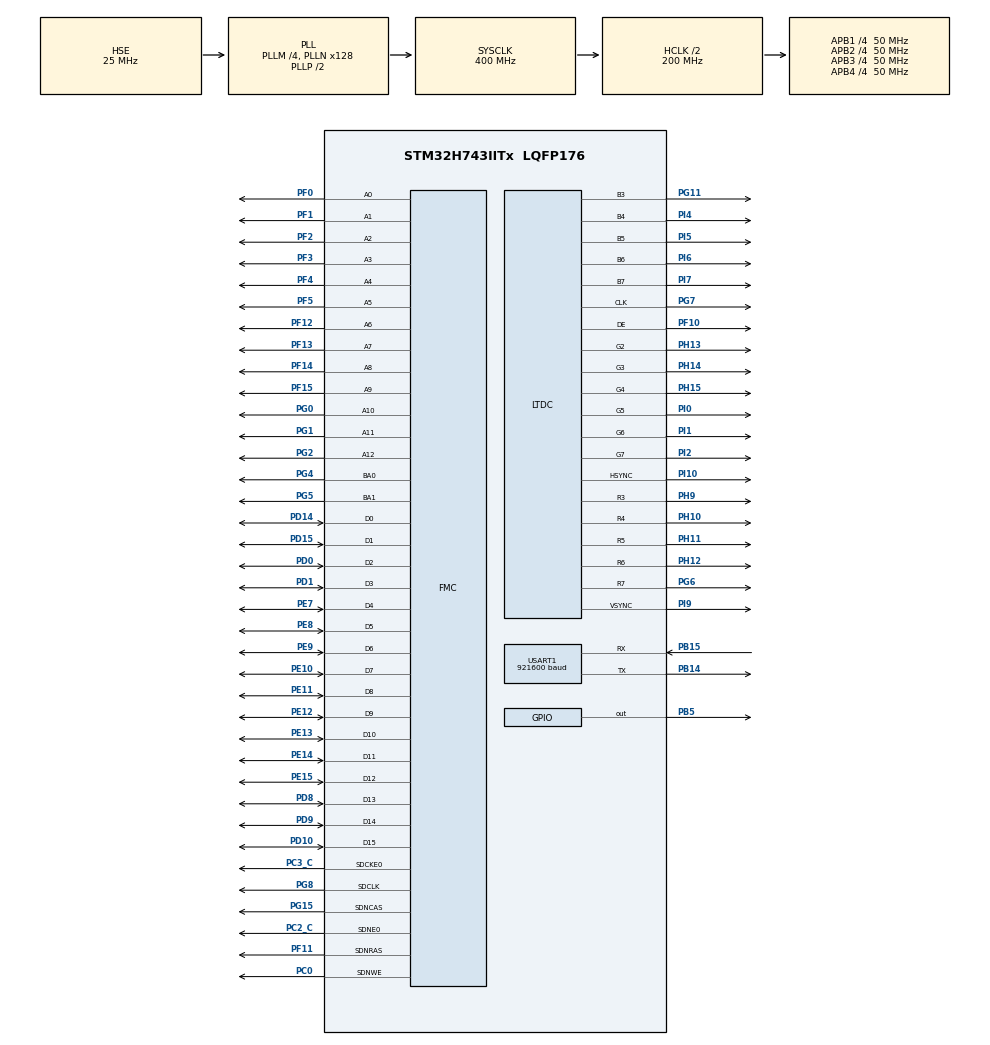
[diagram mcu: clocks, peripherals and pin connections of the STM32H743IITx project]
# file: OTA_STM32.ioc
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CORTEX_M7.AccessPermission_S-Cortex_Memory_Protection_Unit_Region1_Settings_S=MPU_REGION_FULL_ACCESS
CORTEX_M7.AccessPermission_Spec=MPU_REGION_NO_ACCESS
CORTEX_M7.BaseAddress_S-Cortex_Memory_Protection_Unit_Region1_Settings_S=0xC0000000
CORTEX_M7.DisableExec_S-Cortex_Memory_Protection_Unit_Region1_Settings_S=MPU_INSTRUCTION_ACCESS_DISABLE
CORTEX_M7.Enable_S-Cortex_Memory_Protection_Unit_Region1_Settings_S=MPU_REGION_ENABLE
CORTEX_M7.Size_S-Cortex_Memory_Protection_Unit_Region1_Settings_S=MPU_REGION_SIZE_32MB
CORTEX_M7.default_mode_Activation=1
Dma.Request0=USART1_RX
Dma.USART1_RX.0.Direction=DMA_PERIPH_TO_MEMORY
Dma.USART1_RX.0.EventEnable=DISABLE
Dma.USART1_RX.0.FIFOMode=DMA_FIFOMODE_DISABLE
Dma.USART1_RX.0.Instance=DMA1_Stream0
Dma.USART1_RX.0.MemDataAlignment=DMA_MDATAALIGN_BYTE
Dma.USART1_RX.0.MemInc=DMA_MINC_ENABLE
Dma.USART1_RX.0.Mode=DMA_CIRCULAR
Dma.USART1_RX.0.PeriphDataAlignment=DMA_PDATAALIGN_BYTE
Dma.USART1_RX.0.PeriphInc=DMA_PINC_DISABLE
Dma.USART1_RX.0.Polarity=HAL_DMAMUX_REQ_GEN_RISING
Dma.USART1_RX.0.Priority=DMA_PRIORITY_LOW
Dma.USART1_RX.0.RequestNumber=1
Dma.USART1_RX.0.SignalID=NONE
Dma.USART1_RX.0.SyncEnable=DISABLE
Dma.USART1_RX.0.SyncPolarity=HAL_DMAMUX_SYNC_NO_EVENT
Dma.USART1_RX.0.SyncRequestNumber=1
Dma.USART1_RX.0.SyncSignalID=NONE
FMC.CASLatency1=FMC_SDRAM_CAS_LATENCY_2
FMC.ColumnBitsNumber1=FMC_SDRAM_COLUMN_BITS_NUM_9
FMC.ExitSelfRefreshDelay1=8
FMC.LoadToActiveDelay1=2
FMC.RCDDelay1=5
FMC.RPDelay1=2
FMC.RPDelay2=2
FMC.ReadBurst1=FMC_SDRAM_RBURST_ENABLE
FMC.ReadBurst2=FMC_SDRAM_RBURST_ENABLE
FMC.RowCycleDelay1=7
FMC.SDClockPeriod1=FMC_SDRAM_CLOCK_PERIOD_2
FMC.SelfRefreshTime1=7
FMC.WriteRecoveryTime1=2
FREERTOS.Tasks01=defaultTask,24,128,StartDefaultTask,Default,NULL,Dynamic,NULL,NULL;LvglTask,24,2048,StartLvglTask,Default,NULL,Dynamic,NULL,NULL;OtaTask,24,1024,StartOtaTask,Default,NULL,Dynamic,NULL,NULL
FREERTOS.configTOTAL_HEAP_SIZE=65535
LTDC.ActiveH=600
LTDC.ActiveW=1024
LTDC.Alpha_L0=255
LTDC.DEPolarity=LTDC_DEPOLARITY_AL
LTDC.FBStartAdress_L0=0xC0000000
LTDC.HBP=140
LTDC.HFP=160
LTDC.HSync=20
LTDC.ImageHeight_L0=600
LTDC.ImageWidth_L0=1024
LTDC.Layers=0
LTDC.PixelFormat_L0=LTDC_PIXEL_FORMAT_RGB565
LTDC.VBP=20
LTDC.VSync=3
LTDC.WindowX1_L0=1024
LTDC.WindowY1_L0=600
Mcu.Family=STM32H7
Mcu.Name=STM32H743IITx
Mcu.Package=LQFP176
NVIC.DMA1_Stream0_IRQn=true\:5\:0\:false\:false\:true\:true\:false\:true\:true
NVIC.PriorityGroup=NVIC_PRIORITYGROUP_4
NVIC.TIM6_DAC_IRQn=true\:15\:0\:false\:false\:true\:false\:false\:true\:true
NVIC.TimeBase=TIM6_DAC_IRQn
NVIC.TimeBaseIP=TIM6
NVIC.USART1_IRQn=true\:5\:0\:false\:false\:true\:true\:true\:true\:true
PA13\ (JTMS/SWDIO).Mode=Serial_Wire
PA13\ (JTMS/SWDIO).Signal=DEBUG_JTMS-SWDIO
PA14\ (JTCK/SWCLK).Mode=Serial_Wire
PA14\ (JTCK/SWCLK).Signal=DEBUG_JTCK-SWCLK
PB14.GPIO_Speed=GPIO_SPEED_FREQ_VERY_HIGH
PB14.Mode=Asynchronous
PB14.Signal=USART1_TX
PB15.GPIO_Speed=GPIO_SPEED_FREQ_VERY_HIGH
PB15.Mode=Asynchronous
PB15.Signal=USART1_RX
PB5.GPIO_Speed=GPIO_SPEED_FREQ_HIGH
PB5.PinState=GPIO_PIN_SET
PB5.Signal=GPIO_Output
PC0.Signal=FMC_SDNWE
PC2_C.Mode=SdramChipSelect1_1
PC2_C.Signal=FMC_SDNE0
PC3_C.Mode=SdramChipSelect1_1
PC3_C.Signal=FMC_SDCKE0
PD0.Signal=FMC_D2_DA2
PD1.Signal=FMC_D3_DA3
PD10.Signal=FMC_D15_DA15
PD14.Signal=FMC_D0_DA0
PD15.Signal=FMC_D1_DA1
PD8.Signal=FMC_D13_DA13
PD9.Signal=FMC_D14_DA14
PE10.Signal=FMC_D7_DA7
PE11.Signal=FMC_D8_DA8
PE12.Signal=FMC_D9_DA9
PE13.Signal=FMC_D10_DA10
PE14.Signal=FMC_D11_DA11
PE15.Signal=FMC_D12_DA12
PE7.Signal=FMC_D4_DA4
PE8.Signal=FMC_D5_DA5
PE9.Signal=FMC_D6_DA6
PF0.Signal=FMC_A0
PF1.Signal=FMC_A1
PF10.GPIO_Speed=GPIO_SPEED_FREQ_VERY_HIGH
PF10.Mode=RGB565
PF10.Signal=LTDC_DE
PF11.Signal=FMC_SDNRAS
PF12.Signal=FMC_A6
PF13.Signal=FMC_A7
PF14.Signal=FMC_A8
PF15.Signal=FMC_A9
PF2.Signal=FMC_A2
PF3.Signal=FMC_A3
PF4.Signal=FMC_A4
PF5.Signal=FMC_A5
PG0.Signal=FMC_A10
PG1.Signal=FMC_A11
PG11.GPIO_Speed=GPIO_SPEED_FREQ_VERY_HIGH
PG11.Mode=RGB565
PG11.Signal=LTDC_B3
PG15.Signal=FMC_SDNCAS
PG2.Signal=FMC_A12
PG4.Signal=FMC_A14_BA0
PG5.Signal=FMC_A15_BA1
PG6.GPIO_Speed=GPIO_SPEED_FREQ_VERY_HIGH
PG6.Mode=RGB565
PG6.Signal=LTDC_R7
PG7.GPIO_Speed=GPIO_SPEED_FREQ_VERY_HIGH
PG7.Mode=RGB565
PG7.Signal=LTDC_CLK
PG8.Signal=FMC_SDCLK
PH0-OSC_IN\ (PH0).Mode=HSE-External-Oscillator
PH0-OSC_IN\ (PH0).Signal=RCC_OSC_IN
PH1-OSC_OUT\ (PH1).Mode=HSE-External-Oscillator
PH1-OSC_OUT\ (PH1).Signal=RCC_OSC_OUT
PH10.GPIO_Speed=GPIO_SPEED_FREQ_VERY_HIGH
PH10.Mode=RGB565
PH10.Signal=LTDC_R4
PH11.GPIO_Speed=GPIO_SPEED_FREQ_VERY_HIGH
PH11.Mode=RGB565
PH11.Signal=LTDC_R5
PH12.GPIO_Speed=GPIO_SPEED_FREQ_VERY_HIGH
PH12.Mode=RGB565
PH12.Signal=LTDC_R6
PH13.GPIO_Speed=GPIO_SPEED_FREQ_VERY_HIGH
PH13.Mode=RGB565
PH13.Signal=LTDC_G2
PH14.GPIO_Speed=GPIO_SPEED_FREQ_VERY_HIGH
PH14.Mode=RGB565
PH14.Signal=LTDC_G3
PH15.GPIO_Speed=GPIO_SPEED_FREQ_VERY_HIGH
PH15.Mode=RGB565
PH15.Signal=LTDC_G4
PH9.GPIO_Speed=GPIO_SPEED_FREQ_VERY_HIGH
PH9.Mode=RGB565
PH9.Signal=LTDC_R3
PI0.GPIO_Speed=GPIO_SPEED_FREQ_VERY_HIGH
PI0.Mode=RGB565
PI0.Signal=LTDC_G5
PI1.GPIO_Speed=GPIO_SPEED_FREQ_VERY_HIGH
PI1.Mode=RGB565
PI1.Signal=LTDC_G6
PI10.GPIO_Speed=GPIO_SPEED_FREQ_VERY_HIGH
PI10.Mode=RGB565
PI10.Signal=LTDC_HSYNC
PI2.GPIO_Speed=GPIO_SPEED_FREQ_VERY_HIGH
PI2.Mode=RGB565
PI2.Signal=LTDC_G7
PI4.GPIO_Speed=GPIO_SPEED_FREQ_VERY_HIGH
PI4.Mode=RGB565
PI4.Signal=LTDC_B4
PI5.GPIO_Speed=GPIO_SPEED_FREQ_VERY_HIGH
PI5.Mode=RGB565
PI5.Signal=LTDC_B5
PI6.GPIO_Speed=GPIO_SPEED_FREQ_VERY_HIGH
PI6.Mode=RGB565
PI6.Signal=LTDC_B6
PI7.GPIO_Speed=GPIO_SPEED_FREQ_VERY_HIGH
PI7.Mode=RGB565
PI7.Signal=LTDC_B7
PI9.GPIO_Speed=GPIO_SPEED_FREQ_VERY_HIGH
PI9.Mode=RGB565
PI9.Signal=LTDC_VSYNC
ProjectManager.HeapSize=0x200
ProjectManager.StackSize=0x400
ProjectManager.TargetToolchain=MDK-ARM V5.32
RCC.ADCFreq_Value=220000000
RCC.APB1Freq_Value=50000000
RCC.APB2Freq_Value=50000000
RCC.APB3Freq_Value=50000000
RCC.APB4Freq_Value=50000000
RCC.CortexFreq_Value=400000000
RCC.D1PPRE=RCC_APB3_DIV4
RCC.D2PPRE1=RCC_APB1_DIV4
RCC.D2PPRE2=RCC_APB2_DIV4
RCC.D3PPRE=RCC_APB4_DIV4
RCC.DIVM1=4
RCC.DIVM2=25
RCC.DIVM3=25
RCC.DIVN1=128
RCC.DIVN2=440
RCC.DIVN3=300
RCC.DIVR3=6
RCC.FMCCLockSelection=RCC_FMCCLKSOURCE_PLL2
RCC.HCLKFreq_Value=200000000
RCC.HPRE=RCC_HCLK_DIV2
RCC.PLLSourceVirtual=RCC_PLLSOURCE_HSE
RCC.SYSCLKFreq_VALUE=400000000
RCC.SYSCLKSource=RCC_SYSCLKSOURCE_PLLCLK
RCC.USBFreq_Value=400000000
SH.FMC_A0.0=FMC_A0,13b-sda1
SH.FMC_A1.0=FMC_A1,13b-sda1
SH.FMC_A10.0=FMC_A10,13b-sda1
SH.FMC_A11.0=FMC_A11,13b-sda1
SH.FMC_A12.0=FMC_A12,13b-sda1
SH.FMC_A14_BA0.0=FMC_BA0,FourSdramBanks1
SH.FMC_A15_BA1.0=FMC_BA1,FourSdramBanks1
SH.FMC_A2.0=FMC_A2,13b-sda1
SH.FMC_A3.0=FMC_A3,13b-sda1
SH.FMC_A4.0=FMC_A4,13b-sda1
SH.FMC_A5.0=FMC_A5,13b-sda1
SH.FMC_A6.0=FMC_A6,13b-sda1
SH.FMC_A7.0=FMC_A7,13b-sda1
SH.FMC_A8.0=FMC_A8,13b-sda1
SH.FMC_A9.0=FMC_A9,13b-sda1
SH.FMC_D0_DA0.0=FMC_D0,sd-16b-d1
SH.FMC_D10_DA10.0=FMC_D10,sd-16b-d1
SH.FMC_D11_DA11.0=FMC_D11,sd-16b-d1
SH.FMC_D12_DA12.0=FMC_D12,sd-16b-d1
SH.FMC_D13_DA13.0=FMC_D13,sd-16b-d1
SH.FMC_D14_DA14.0=FMC_D14,sd-16b-d1
SH.FMC_D15_DA15.0=FMC_D15,sd-16b-d1
SH.FMC_D1_DA1.0=FMC_D1,sd-16b-d1
SH.FMC_D2_DA2.0=FMC_D2,sd-16b-d1
SH.FMC_D3_DA3.0=FMC_D3,sd-16b-d1
SH.FMC_D4_DA4.0=FMC_D4,sd-16b-d1
SH.FMC_D5_DA5.0=FMC_D5,sd-16b-d1
SH.FMC_D6_DA6.0=FMC_D6,sd-16b-d1
SH.FMC_D7_DA7.0=FMC_D7,sd-16b-d1
SH.FMC_D8_DA8.0=FMC_D8,sd-16b-d1
SH.FMC_D9_DA9.0=FMC_D9,sd-16b-d1
SH.FMC_SDCLK.0=FMC_SDCLK,13b-sda1
SH.FMC_SDNCAS.0=FMC_SDNCAS,13b-sda1
SH.FMC_SDNRAS.0=FMC_SDNRAS,13b-sda1
SH.FMC_SDNWE.0=FMC_SDNWE,13b-sda1
USART1.BaudRate=921600
USART1.VirtualMode-Asynchronous=VM_ASYNC
VP_DMA2D_VS_DMA2D.Mode=DMA2D_Activate
VP_FREERTOS_VS_CMSIS_V2.Mode=CMSIS_V2
VP_MEMORYMAP_VS_MEMORYMAP.Mode=CurAppReg
VP_SYS_VS_tim6.Mode=TIM6
board=custom

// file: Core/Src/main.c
/* USER CODE BEGIN Header */
/**
  ******************************************************************************
  * @file           : main.c
  * @brief          : Main program body
  ******************************************************************************
  * @attention
  *
  * Copyright (c) 2026 STMicroelectronics.
  * All rights reserved.
  *
  * This software is licensed under terms that can be found in the LICENSE file
  * in the root directory of this software component.
  * If no LICENSE file comes with this software, it is provided AS-IS.
  *
  ******************************************************************************
  */
/* USER CODE END Header */
#include "main.h"
#include "FreeRTOS.h"
#include "cmsis_os2.h"
#include "dma.h"
#include "dma2d.h"
#include "ltdc.h"
#include "usart.h"
#include "gpio.h"
#include "fmc.h"

/* USER CODE BEGIN Includes */
#include "ota_uart.h"
#include "ota_core.h"
#include "ota_ui.h"
#include "ota_link.h"
#include "ota_flash.h"
#include <string.h>          /* memset，仅开机自检用 */
/* USER CODE END Includes */

void SystemClock_Config(void);
static void MPU_Config(void);
void MX_FREERTOS_Init(void);

/* USER CODE BEGIN 0 */
static void app_reset_now(void)
{
    NVIC_SystemReset();
}

/* 开机自报身份：把「我是哪个槽的固件、链接基址是多少」通过 UART 发一行。
 *
 * 为什么要这个：屏幕上的 ACTIVE SLOT 字母来自编译期宏 OTA_ACTIVE_SLOT，
 * 它只能证明「这版固件是给哪个槽编译的」，证明不了「它现在被放在哪个槽跑」。
 * 而 Bootloader 在某个槽校验不过时会自动切到另一个槽，很容易出现
 * 「我烧的是 A，屏幕上却是 B」这种对不上账的情况。
 * 这一行带基址，串口那头一眼就能对账：
 *     [STM32] APP: slot A (base 0x08020000)
 * OTA 升级完成后也靠它确认到底跳到了哪个槽。
 * 手写十六进制而不用 snprintf：本工程没开 Microlib，为一行日志拖进
 * 整个 printf 家族不划算。 */
/* 小工具：把十进制写进字符串，避免为一个日志行引入 snprintf。 */
static uint32_t app_put_u32(char *s, uint32_t i, uint32_t v)
{
    char t[12];
    uint32_t n = 0u, k;

    if (v == 0u)
    {
        s[i++] = '0';
        return i;
    }
    while (v > 0u)
    {
        t[n++] = (char)('0' + (v % 10u));
        v /= 10u;
    }
    for (k = 0u; k < n; ++k)
    {
        s[i++] = t[n - 1u - k];
    }
    return i;
}

/* 开机自检两个槽，把「能不能被 Bootloader 认下来」和「失败原因码」发出去。
 *
 * 这一行是为了解一个矛盾：升级结束时 APP 自己 verify 是通过的，
 * 但重启后 Bootloader 却回滚到旧槽。原因码含义：
 *   1=读不到固件头  2=头字段非法  3=SP 非法  4=PC 不在镜像内  5=CRC 不符 */
static void app_log_slot_verify(void)
{
    char s[40];
    uint32_t i = 0u;
    int va, vb;

    va = ota_flash_verify_slot(OTA_SLOT_A, 0);
    s[i++] = 'I'; s[i++] = 'M'; s[i++] = 'G'; s[i++] = ':';
    s[i++] = ' ';
    s[i++] = 'A'; s[i++] = '=';
    i = app_put_u32(s, i, (va) ? 1u : 0u);
    s[i++] = '/';
    i = app_put_u32(s, i, (uint32_t)ota_flash_verify_reason());

    vb = ota_flash_verify_slot(OTA_SLOT_B, 0);
    s[i++] = ' ';
    s[i++] = 'B'; s[i++] = '=';
    i = app_put_u32(s, i, (vb) ? 1u : 0u);
    s[i++] = '/';
    i = app_put_u32(s, i, (uint32_t)ota_flash_verify_reason());
    s[i] = '\0';

    (void)ota_link_log(s);
}

/* 追加一段字面量到 s。手写而不用 strcat，避免引入 string 库调用。 */
static uint32_t app_put_str(char *s, uint32_t i, const char *t)
{
    while (*t != '\0') { s[i++] = *t; ++t; }
    return i;
}

static uint32_t app_put_hex32(char *s, uint32_t i, uint32_t v)
{
    static const char HD[] = "0123456789ABCDEF";
    uint32_t k;

    for (k = 0u; k < 8u; ++k)
    {
        s[i++] = HD[(v >> ((7u - k) * 4u)) & 0xFu];
    }
    return i;
}

/* 把 B 槽固件头的原始字段和「重新算一遍」的 CRC 一起打出来。
 *
 * 原因码只能说明「5 = CRC 不符」，看不出根因，而三种根因的修法完全不同：
 *   - 头里 fw_size 记错了   -> 这里的 n 就是错的
 *   - 内容被擦坏/少写几片   -> n 对，但 calc != c
 *   - 头根本没写进去        -> m=FFFFFFFF n=4294967295
 */
static void app_log_b_slot_header(void)
{
    ota_fw_header_t hdr;
    char s[110];
    uint32_t i;
    uint32_t calc;
    int      same;

    memset(&hdr, 0, sizeof(hdr));
    (void)ota_flash_read_fw_header(OTA_SLOT_B, &hdr);

    i = 0u;
    i = app_put_str(s, i, "HDRB: m=");
    i = app_put_hex32(s, i, hdr.magic);
    i = app_put_str(s, i, " h=");
    i = app_put_u32(s, i, hdr.header_size);
    i = app_put_str(s, i, " n=");
    i = app_put_u32(s, i, hdr.fw_size);
    i = app_put_str(s, i, " s=");
    i = app_put_u32(s, i, (uint32_t)hdr.slot);
    i = app_put_str(s, i, " c=");
    i = app_put_hex32(s, i, hdr.fw_crc32);
    s[i] = '\0';
    (void)ota_link_log(s);

    /* 长度非法时算 CRC 会把整个 896KB 读一遍（要好几秒），跳过。 */
    i = 0u;
    i = app_put_str(s, i, "CALC: ");
    if ((hdr.fw_size == 0u) || (hdr.fw_size > OTA_FW_MAX_SIZE))
    {
        i = app_put_str(s, i, "skip (bad size)");
    }
    else
    {
        calc = ota_crc32((const uint8_t *)OTA_SLOT_ADDR(OTA_SLOT_B), hdr.fw_size);
        same = (calc == hdr.fw_crc32) ? 1 : 0;
        i = app_put_hex32(s, i, calc);
        i = app_put_str(s, i, (same != 0) ? " MATCH" : " MISMATCH");
    }
    s[i] = '\0';
    (void)ota_link_log(s);
}

/* 打出 Bootloader 会读到的元数据。
 *
 * 用来区分两种「重启后还停在 A」：
 *   1) 元数据说 active=A 且 trial=255(none) -> B 根本没被尝试，问题在元数据写入
 *   2) 元数据说 trial=B                      -> B 被尝试了但校验失败，问题在 verify
 * 这两种现象的串口表现一模一样，只能靠这行数据分开。 */
static void app_log_meta(void)
{
    ota_meta_t m;
    char s[64];
    uint32_t i;

    memset(&m, 0, sizeof(m));
    if (!ota_meta_load(&m))
    {
        (void)ota_link_log("META: load failed");
        return;
    }
    i = 0u;
    i = app_put_str(s, i, "META: act=");
    i = app_put_u32(s, i, (uint32_t)m.active_slot);
    i = app_put_str(s, i, " trial=");
    i = app_put_u32(s, i, (uint32_t)m.trial_slot);
    i = app_put_str(s, i, " try=");
    i = app_put_u32(s, i, (uint32_t)m.boot_try);
    i = app_put_str(s, i, " res=");
    i = app_put_u32(s, i, (uint32_t)m.last_result);
    s[i] = '\0';
    (void)ota_link_log(s);
}

/* 本镜像实际被链接到了哪个槽。
 *
 * 为什么不能只信 OTA_ACTIVE_SLOT 宏：APP_A 和 APP_B 两个 Keil 目标共用同一个
 * 输出目录（MDK-ARM\OTA_STM32\），增量构建时 APP_B 会直接复用 APP_A 编译出的
 * .o，于是「B 的镜像」里 OTA_ACTIVE_SLOT 仍然是 0。后果是固件明明跑在 B 槽，
 * 却自认为在 A：
 *   1) 上报 active_slot=0，上位机永远等不到「已切到 B」的确认；
 *   2) ota_core_confirm_app() 拿 trial=B 和 active=A 比较必然不相等，
 *      试用标记永远清不掉，3 次之后 Bootloader 就回滚。
 * 链接地址不会骗人：镜像被链接到 0x08100000 时，任何函数地址都 >= 0x08100000。
 */
static uint8_t app_link_slot(void)
{
    uint32_t here = (uint32_t)(void *)&app_link_slot;

    return (here >= OTA_SLOT_B_ADDR) ? (uint8_t)OTA_SLOT_B : (uint8_t)OTA_SLOT_A;
}

static void app_log_boot_identity(void)
{
    static const char HD[] = "0123456789ABCDEF";
    char s[44];
    uint8_t  slot = app_link_slot();
    uint32_t base = OTA_SLOT_ADDR(slot);
    uint32_t i = 0u, k;

    s[i++] = 'A'; s[i++] = 'P'; s[i++] = 'P'; s[i++] = ':';
    s[i++] = ' ';
    s[i++] = 's'; s[i++] = 'l'; s[i++] = 'o'; s[i++] = 't'; s[i++] = ' ';
    s[i++] = (slot == OTA_SLOT_B) ? 'B' : 'A';
    s[i++] = ' ';
    s[i++] = '(';
    s[i++] = 'b'; s[i++] = 'a'; s[i++] = 's'; s[i++] = 'e'; s[i++] = ' ';
    s[i++] = '0'; s[i++] = 'x';
    for (k = 0u; k < 8u; ++k)
    {
        s[i++] = HD[(base >> ((7u - k) * 4u)) & 0xFu];
    }
    s[i++] = ')';
    s[i]   = '\0';

    (void)ota_link_log(s);
}
/* USER CODE END 0 */

int main(void)
{

  /* MPU Configuration--------------------------------------------------------*/
  MPU_Config();

  /* MCU Configuration--------------------------------------------------------*/

  /* Reset of all peripherals, Initializes the Flash interface and the Systick. */
  HAL_Init();

  /* Configure the system clock */
  SystemClock_Config();

  /* USER CODE BEGIN SysInit */
  /* PLL2 由 fmc.c 的 HAL_FMC_MspInit() 通过 HAL_RCCEx_PeriphCLKConfig() 配置。
     不要在这里手配 PLL2：HAL 会用 PeriphClkInitStruct.PLL2 重新配置它，
     重复配置或传空结构体会导致 PLL2 锁不上而黑屏。 */
  /* USER CODE END SysInit */

  /* Initialize all configured peripherals */
  MX_GPIO_Init();
  MX_DMA_Init();
  MX_DMA2D_Init();
  MX_FMC_Init();
  MX_LTDC_Init();
  MX_USART1_UART_Init();
  /* USER CODE BEGIN 2 */
  /* 正式显示：帧缓冲 = SDRAM 0xC0000000，满屏 1024x600 RGB565，8 色彩条。
     MX_LTDC_Init() 返回后 LTDC 已在读帧缓冲，因此先关 LTDC 再整帧写入，
     排空写缓冲后重新开 LTDC 并重配图层，避免第一帧半新半旧。
     注意：LTDC_G6 必须走 PI1(AF14)；CubeMX 默认的 PI11(AF9) 会让屏端 G6 浮空。 */
  CLEAR_BIT(LTDC->GCR, LTDC_GCR_LTDCEN);

  #define FB_W   1024U
  #define FB_H   600U
  #define NBARS  8U
  {
    const uint16_t bars[NBARS] =
      {0xF800, 0x07E0, 0x001F, 0xFFE0, 0x07FF, 0xF81F, 0xFFFF, 0x0000};
    volatile uint16_t *fb = (volatile uint16_t *)(0xC0000000u);

    for (uint32_t y = 0U; y < FB_H; y++)
    {
      volatile uint16_t *row = fb + y * FB_W;
      for (uint32_t x = 0U; x < FB_W; x++)
      {
        uint32_t idx = x / (FB_W / NBARS);
        if (idx >= NBARS) { idx = NBARS - 1U; }
        row[x] = bars[idx];
      }
    }

    /* 图层参数与 MX_LTDC_Init() 一致，显式重配一次确保基址/窗口/格式正确 */
    LTDC_LayerCfgTypeDef lc = {0};
    lc.WindowX0 = 0; lc.WindowX1 = FB_W;
    lc.WindowY0 = 0; lc.WindowY1 = FB_H;
    lc.PixelFormat = LTDC_PIXEL_FORMAT_RGB565;
    lc.Alpha = 255; lc.Alpha0 = 0;
    lc.BlendingFactor1 = LTDC_BLENDING_FACTOR1_PAxCA;
    lc.BlendingFactor2 = LTDC_BLENDING_FACTOR2_PAxCA;
    lc.FBStartAdress = (uint32_t)fb;
    lc.ImageWidth = FB_W; lc.ImageHeight = FB_H;
    lc.Backcolor.Blue = 0; lc.Backcolor.Green = 0; lc.Backcolor.Red = 0;

    /* 帧缓冲就在 0xC0000000：volatile 读 + DSB 保证 CPU 写全部落地后再开 LTDC */
    (void)*(volatile uint16_t *)0xC0000000u;
    __DSB();

    SET_BIT(LTDC->GCR, LTDC_GCR_LTDCEN);
    HAL_LTDC_ConfigLayer(&hltdc, &lc, 0);
  }
  #undef FB_W
  #undef FB_H
  #undef NBARS

  /* OTA stack, still before osKernelStart() so flash writes are not
     interrupted by the scheduler. OTA_ACTIVE_SLOT comes from the Keil
     target defines (APP_A = 0, APP_B = 1). */
  {
    ota_core_cfg_t cfg;

    cfg.active_slot    = app_link_slot();
    cfg.millis         = ota_uart_millis;
    cfg.reset_now      = app_reset_now;
    cfg.reset_delay_ms = 250u;

    ota_core_init(&cfg);
    /* 宏与链接地址不一致 = 镜像被增量构建污染了，尽早喊出来。 */
    if (app_link_slot() != (uint8_t)OTA_ACTIVE_SLOT)
    {
        (void)ota_link_log("WARN: OTA_ACTIVE_SLOT macro != link address, "
                           "using link address (stale .o? rebuild with -r)");
    }
    (void)ota_core_confirm_app();  /* clear trial flag after a good boot */
    ota_uart_init();
    ota_ui_init();
    app_log_boot_identity();
    app_log_slot_verify();
    app_log_meta();
    app_log_b_slot_header();
  }
  /* USER CODE END 2 */

  /* Init scheduler */
  osKernelInitialize();  /* Call init function for freertos objects (in cmsis_os2.c) */
  MX_FREERTOS_Init();

  /* Start scheduler */
  osKernelStart();

  /* We should never get here as control is now taken by the scheduler */

  /* Infinite loop */
  while (1)
  {

  }
}

void SystemClock_Config(void)
{
  RCC_OscInitTypeDef RCC_OscInitStruct = {0};
  RCC_ClkInitTypeDef RCC_ClkInitStruct = {0};

  /** Supply configuration update enable
  */
  HAL_PWREx_ConfigSupply(PWR_LDO_SUPPLY);

  /** Configure the main internal regulator output voltage
  */
  __HAL_PWR_VOLTAGESCALING_CONFIG(PWR_REGULATOR_VOLTAGE_SCALE1);

  while(!__HAL_PWR_GET_FLAG(PWR_FLAG_VOSRDY)) {}

  /** Initializes the RCC Oscillators according to the specified parameters
  * in the RCC_OscInitTypeDef structure.
  */
  RCC_OscInitStruct.OscillatorType = RCC_OSCILLATORTYPE_HSE;
  RCC_OscInitStruct.HSEState = RCC_HSE_ON;
  RCC_OscInitStruct.PLL.PLLState = RCC_PLL_ON;
  RCC_OscInitStruct.PLL.PLLSource = RCC_PLLSOURCE_HSE;
  RCC_OscInitStruct.PLL.PLLM = 4;
  RCC_OscInitStruct.PLL.PLLN = 128;
  RCC_OscInitStruct.PLL.PLLP = 2;
  RCC_OscInitStruct.PLL.PLLQ = 2;
  RCC_OscInitStruct.PLL.PLLR = 2;
  RCC_OscInitStruct.PLL.PLLRGE = RCC_PLL1VCIRANGE_2;
  RCC_OscInitStruct.PLL.PLLVCOSEL = RCC_PLL1VCOWIDE;
  RCC_OscInitStruct.PLL.PLLFRACN = 0;
  if (HAL_RCC_OscConfig(&RCC_OscInitStruct) != HAL_OK)
  {
    Error_Handler();
  }

  /** Initializes the CPU, AHB and APB buses clocks
  */
  RCC_ClkInitStruct.ClockType = RCC_CLOCKTYPE_HCLK|RCC_CLOCKTYPE_SYSCLK
                              |RCC_CLOCKTYPE_PCLK1|RCC_CLOCKTYPE_PCLK2
                              |RCC_CLOCKTYPE_D3PCLK1|RCC_CLOCKTYPE_D1PCLK1;
  RCC_ClkInitStruct.SYSCLKSource = RCC_SYSCLKSOURCE_PLLCLK;
  RCC_ClkInitStruct.SYSCLKDivider = RCC_SYSCLK_DIV1;
  RCC_ClkInitStruct.AHBCLKDivider = RCC_HCLK_DIV2;
  RCC_ClkInitStruct.APB3CLKDivider = RCC_APB3_DIV4;
  RCC_ClkInitStruct.APB1CLKDivider = RCC_APB1_DIV4;
  RCC_ClkInitStruct.APB2CLKDivider = RCC_APB2_DIV4;
  RCC_ClkInitStruct.APB4CLKDivider = RCC_APB4_DIV4;

  if (HAL_RCC_ClockConfig(&RCC_ClkInitStruct, FLASH_LATENCY_2) != HAL_OK)
  {
    Error_Handler();
  }
}

 /* MPU Configuration */

void MPU_Config(void)
{
  MPU_Region_InitTypeDef MPU_InitStruct = {0};

  /* Disables the MPU */
  HAL_MPU_Disable();

  /** Initializes and configures the Region and the memory to be protected
  */
  MPU_InitStruct.Enable = MPU_REGION_ENABLE;
  MPU_InitStruct.Number = MPU_REGION_NUMBER0;
  MPU_InitStruct.BaseAddress = 0x0;
  MPU_InitStruct.Size = MPU_REGION_SIZE_4GB;
  MPU_InitStruct.SubRegionDisable = 0x87;
  MPU_InitStruct.TypeExtField = MPU_TEX_LEVEL0;
  MPU_InitStruct.AccessPermission = MPU_REGION_NO_ACCESS;
  MPU_InitStruct.DisableExec = MPU_INSTRUCTION_ACCESS_DISABLE;
  MPU_InitStruct.IsShareable = MPU_ACCESS_SHAREABLE;
  MPU_InitStruct.IsCacheable = MPU_ACCESS_NOT_CACHEABLE;
  MPU_InitStruct.IsBufferable = MPU_ACCESS_NOT_BUFFERABLE;

  HAL_MPU_ConfigRegion(&MPU_InitStruct);

  /** Initializes and configures the Region and the memory to be protected
  */
  MPU_InitStruct.Number = MPU_REGION_NUMBER1;
  MPU_InitStruct.BaseAddress = 0xC0000000;
  MPU_InitStruct.Size = MPU_REGION_SIZE_32MB;
  MPU_InitStruct.SubRegionDisable = 0x0;
  MPU_InitStruct.AccessPermission = MPU_REGION_FULL_ACCESS;
  MPU_InitStruct.IsShareable = MPU_ACCESS_NOT_SHAREABLE;

  HAL_MPU_ConfigRegion(&MPU_InitStruct);
  /* Enables the MPU */
  HAL_MPU_Enable(MPU_PRIVILEGED_DEFAULT);

}

void HAL_TIM_PeriodElapsedCallback(TIM_HandleTypeDef *htim)
{
  if (htim->Instance == TIM6)
  {
    HAL_IncTick();
  }
}

void Error_Handler(void)
{
  __disable_irq();
  while (1)
  {
  }
}

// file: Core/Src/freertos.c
/* USER CODE BEGIN Header */
/**
  ******************************************************************************
  * File Name          : freertos.c
  * Description        : Code for freertos applications
  ******************************************************************************
  * @attention
  *
  * Copyright (c) 2026 STMicroelectronics.
  * All rights reserved.
  *
  * This software is licensed under terms that can be found in the LICENSE file
  * in the root directory of this software component.
  * If no LICENSE file comes with this software, it is provided AS-IS.
  *
  ******************************************************************************
  */
/* USER CODE END Header */

#include "FreeRTOS.h"
#include "task.h"
#include "main.h"
#include "FreeRTOS.h"
#include "cmsis_os2.h"

/* USER CODE BEGIN Includes */
#include "ota_uart.h"
#include "ota_core.h"
#include "ota_ui.h"
/* USER CODE END Includes */

/* Definitions for defaultTask */
osThreadId_t defaultTaskHandle;
const osThreadAttr_t defaultTask_attributes = {
  .name = "defaultTask",
  .stack_size = 128 * 4,
  .priority = (osPriority_t) osPriorityNormal,
};
/* Definitions for LvglTask */
osThreadId_t LvglTaskHandle;
const osThreadAttr_t LvglTask_attributes = {
  .name = "LvglTask",
  .stack_size = 2048 * 4,
  .priority = (osPriority_t) osPriorityNormal,
};
/* Definitions for OtaTask */
osThreadId_t OtaTaskHandle;
const osThreadAttr_t OtaTask_attributes = {
  .name = "OtaTask",
  .stack_size = 1024 * 4,
  .priority = (osPriority_t) osPriorityNormal,
};

void StartDefaultTask(void *argument);
void StartLvglTask(void *argument);
void StartOtaTask(void *argument);

void MX_FREERTOS_Init(void); /* (MISRA C 2004 rule 8.1) */

void MX_FREERTOS_Init(void) {

  /* Create the thread(s) */
  /* creation of defaultTask */
  defaultTaskHandle = osThreadNew(StartDefaultTask, NULL, &defaultTask_attributes);

  /* creation of LvglTask */
  LvglTaskHandle = osThreadNew(StartLvglTask, NULL, &LvglTask_attributes);

  /* creation of OtaTask */
  OtaTaskHandle = osThreadNew(StartOtaTask, NULL, &OtaTask_attributes);

}

void StartDefaultTask(void *argument)
{
  for(;;)
  {
    osDelay(1);
  }
}

void StartLvglTask(void *argument)
{
  /* USER CODE BEGIN StartLvglTask */
  for(;;)
  {
    ota_ui_refresh();
    osDelay(300);
  }
  /* USER CODE END StartLvglTask */
}

void StartOtaTask(void *argument)
{
  /* USER CODE BEGIN StartOtaTask */
  for(;;)
  {
    /* ISR only copies DMA bytes into a ring; parsing, ACKs and flash
       writes all happen here in task context. */
    ota_uart_poll();
    ota_core_poll();
    osDelay(2);
  }
  /* USER CODE END StartOtaTask */
}
